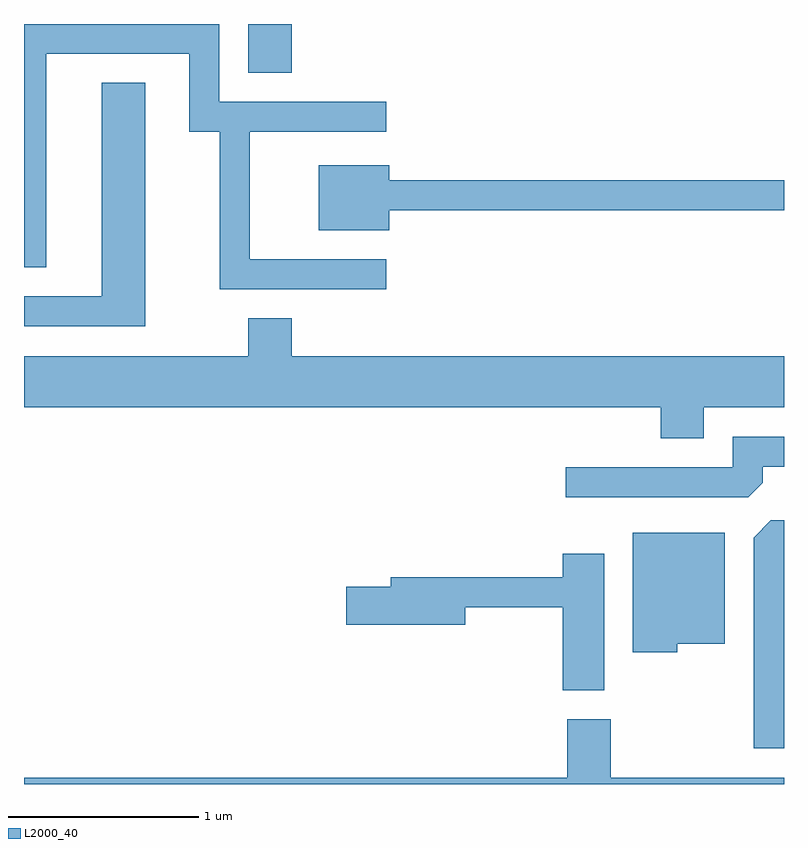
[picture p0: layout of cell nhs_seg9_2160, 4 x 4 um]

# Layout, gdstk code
import gdstk
lib = gdstk.Library(unit=1e-6, precision=1e-09)
def R(c, l, rs):  # rectangles x0, y0, x1, y1
    for r in rs: c.add(gdstk.rectangle(r[:2], r[2:], *l))
def P(c, l, *ps):  # polygons
    for p in ps: c.add(gdstk.Polygon(p, *l))
L2000_40 = (2000, 40)

nhs_seg9_2160 = lib.new_cell('nhs_seg9_2160')
R(nhs_seg9_2160, L2000_40, [(248.791,2060.176,249.019,2060.432)])
P(nhs_seg9_2160, L2000_40, [(249.518,2059.194),(248.799,2059.194),(248.799,2059.866),(249.518,2059.866),(249.518,2060.024),(248.639,2060.024),(248.639,2060.432),(247.611,2060.432),(247.611,2059.151),(247.729,2059.151),(247.729,2060.276),(248.481,2060.276),(248.481,2059.866),(248.641,2059.866),(248.641,2059.036),(249.518,2059.036)],
  [(248.249,2060.124),(248.021,2060.124),(248.021,2058.999),(247.611,2058.999),(247.611,2058.841),(248.249,2058.841)],
  [(249.534,2059.451),(251.611,2059.451),(251.611,2059.609),(249.534,2059.609),(249.534,2059.689),(249.161,2059.689),(249.161,2059.346),(249.534,2059.346)],
  [(251.189,2058.416),(251.611,2058.416),(251.611,2058.684),(249.019,2058.684),(249.019,2058.884),(248.791,2058.884),(248.791,2058.684),(247.611,2058.684),(247.611,2058.416),(250.961,2058.416),(250.961,2058.251),(251.189,2058.251)],
  [(251.499,2058.017),(251.499,2058.101),(251.611,2058.101),(251.611,2058.259),(251.341,2058.259),(251.341,2058.099),(250.463,2058.099),(250.463,2057.941),(251.424,2057.941)],
  [(251.611,2057.819),(251.542,2057.819),(251.451,2057.729),(251.451,2056.621),(251.611,2056.621)],
  [(251.049,2057.171),(251.299,2057.171),(251.299,2057.754),(250.816,2057.754),(250.816,2057.126),(251.049,2057.126)],
  [(250.664,2057.644),(250.446,2057.644),(250.446,2057.519),(249.541,2057.519),(249.541,2057.469),(249.306,2057.469),(249.306,2057.271),(249.934,2057.271),(249.934,2057.361),(250.446,2057.361),(250.446,2056.926),(250.664,2056.926)],
  [(251.611,2056.464),(250.699,2056.464),(250.699,2056.774),(250.471,2056.774),(250.471,2056.464),(247.611,2056.464),(247.611,2056.432),(251.611,2056.432)])

lib.write_gds('nhs_seg9_2160.gds')
